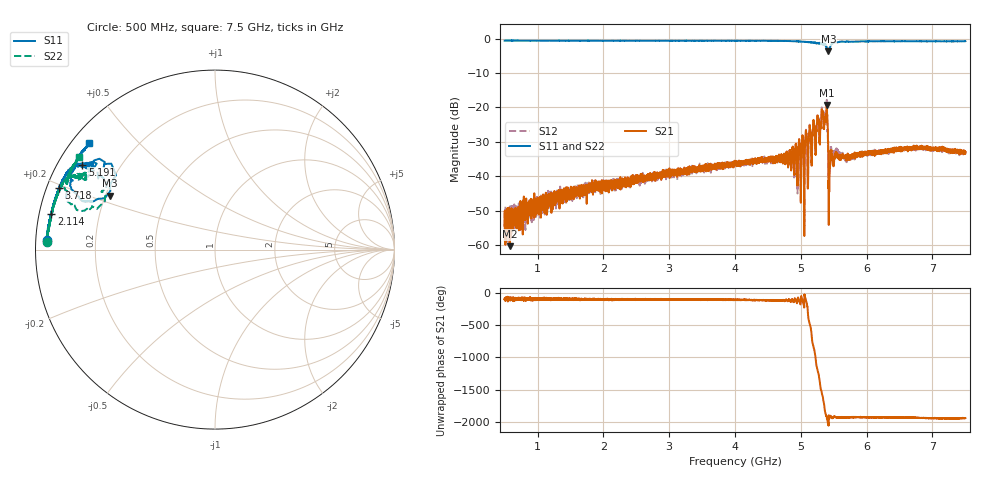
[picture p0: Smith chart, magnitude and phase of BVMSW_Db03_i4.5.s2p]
!Keysight Technologies,M9374A,MY55442783,A.12.55.05
!Date: Friday, May 21, 2021 11:04:14
!Correction: S11(Full 2 Port(1,2))
!S21(Full 2 Port(1,2))
!S12(Full 2 Port(1,2))
!S22(Full 2 Port(1,2))
!S2P File: Measurements: S11, S21, S12, S22:
# Hz S  RI  R 50
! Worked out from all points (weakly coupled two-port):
!   7001 points, 500 MHz to 7.5 GHz, reference 50 ohm
!   highest |S21| = -19.27 dB at 5.394 GHz (marker M1); lowest = -60.3 dB at 579 MHz (marker M2)
!   lowest |S11| = -3.6 dB at 5.418 GHz (marker M3), VSWR 4.86, Z = 10.8 + j11.5 ohm
!   |S11| at or under -10 dB: nowhere
!   |S22| runs from -3.5 to -0.5 dB; largest |S21 - S12| = 0.053
!   S11 on the Smith chart (normalised r, x): 500 MHz: 0.03, +0.03; 2.114 GHz: 0.03, +0.11; 3.718 GHz: 0.04, +0.19; 5.191 GHz: 0.07, +0.29; 7.5 GHz: 0.05, +0.37
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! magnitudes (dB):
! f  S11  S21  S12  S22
! 500 MHz  -0.5  -54.4  -54.1  -0.6
! 579 MHz  -0.5  -60.3  -51.7  -0.6
! 1.667 GHz  -0.6  -45.0  -44.1  -0.6
! 2.114 GHz  -0.6  -42.0  -41.1  -0.6
! 2.834 GHz  -0.6  -39.9  -39.7  -0.6
! 3.718 GHz  -0.6  -37.1  -37.3  -0.6
! 4 GHz  -0.6  -36.2  -36.0  -0.6
! 4.951 GHz  -0.8  -42.7  -42.0  -0.8
! 4.974 GHz  -0.8  -29.7  -29.5  -0.8
! 5.003 GHz  -0.8  -44.1  -45.0  -0.9
! 5.025 GHz  -0.9  -28.1  -28.2  -0.9
! 5.048 GHz  -0.9  -41.9  -40.6  -0.9
! 5.079 GHz  -0.9  -26.7  -26.5  -1.0
! 5.1 GHz  -1.0  -35.5  -36.1  -1.0
! 5.167 GHz  -1.1  -36.4  -35.6  -1.1
! 5.191 GHz  -1.1  -23.8  -23.5  -1.2
! 5.347 GHz  -1.5  -25.7  -25.6  -1.5
! 5.394 GHz  -3.0  -19.3  -17.8  -3.1
! 5.418 GHz  -3.6  -34.5  -37.1  -3.5
! 5.454 GHz  -2.0  -32.9  -30.9  -1.8
! 6.334 GHz  -0.7  -32.4  -32.5  -0.7
! 7.5 GHz  -0.7  -33.0  -33.2  -0.8
